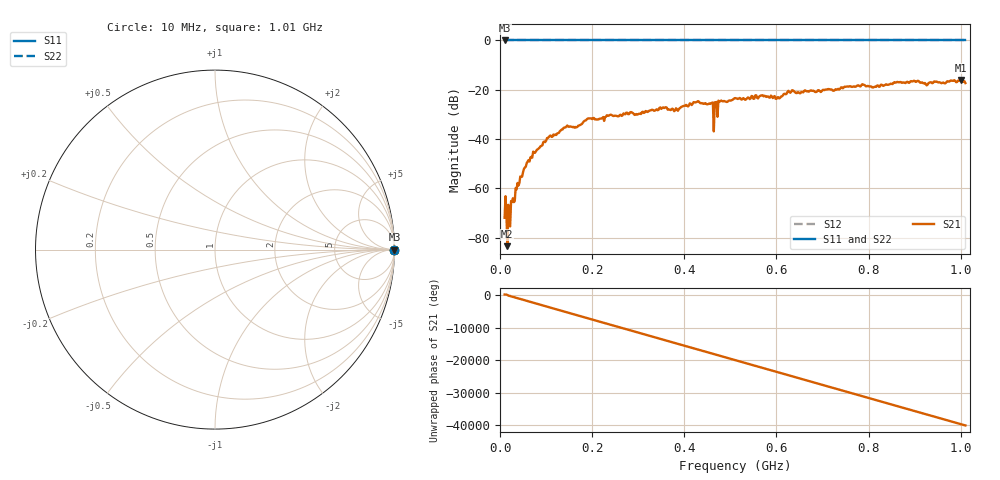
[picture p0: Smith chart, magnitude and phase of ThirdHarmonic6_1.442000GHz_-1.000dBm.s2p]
! 8/16/2025 4:41:01 PM
! C:\ANRITSUVNA\TEMP\TEMP.S2P
! CHANNEL.1
! TR.MEASUREMENT
! RAW.DATA
! RF.CORRECTION.OFF
! AVERAGING.OFF
! IF.BANDWIDTH: 5KHZ
! SWEEPTYPE:  FREQ.SWEEP(Linear)
! Reference Plane Port Info
! PORT:  PORT1  PORT2
! DISTANCE:  0  m  0  m
! TIME:  0  s  0  s
! PHASE.OFFSET:  0  deg.  0  deg.
! LOSS:  0  dB  0  dB
! REF.LOSS:  0  dB  0  dB
! REF.FREQ:  0  Hz  0  Hz
! Power Info
! POWER:  -20  dBm  -20  dBm
! EFF.POWER:  -20  dBm  -20  dBm
! SOURCE.ATTEN:  0  dB  0  dB
! TEST.ATTEN:  0  dB  0  dB
# GHZ S RI R 50.0
! FREQ.GHZ  S11RE  S11IM  S21RE  S21IM  S12RE  S12IM  S22RE  S22IM
!; PortSelection: Port_12
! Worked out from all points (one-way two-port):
!   501 points, 10 MHz to 1.01 GHz, reference 50 ohm
!   highest |S21| = -16.08 dB at 1 GHz (marker M1); lowest = -83.5 dB at 16 MHz (marker M2)
!   lowest |S11| = 0.0 dB at 10 MHz (marker M3)
!   |S11| at or under -10 dB: nowhere
!   |S22| runs from 0.0 to 0.0 dB; largest |S21 - S12| = 1.1
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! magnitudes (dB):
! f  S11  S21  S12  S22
! 10 MHz  0.0  -71.9  0.0  0.0
! 16 MHz  0.0  -83.5  0.0  0.0
! 18 MHz  0.0  -66.7  0.0  0.0
! 28 MHz  0.0  -64.0  0.0  0.0
! 42 MHz  0.0  -58.0  0.0  0.0
! 76 MHz  0.0  -45.6  0.0  0.0
! 106 MHz  0.0  -39.1  0.0  0.0
! 178 MHz  0.0  -33.8  0.0  0.0
! 344 MHz  0.0  -28.2  0.0  0.0
! 382 MHz  0.0  -27.5  0.0  0.0
! 428 MHz  0.0  -24.8  0.0  0.0
! 458 MHz  0.0  -25.5  0.0  0.0
! 460 MHz  0.0  -25.3  0.0  0.0
! 468 MHz  0.0  -25.2  0.0  0.0
! 470 MHz  0.0  -24.9  0.0  0.0
! 478 MHz  0.0  -24.7  0.0  0.0
! 510 MHz  0.0  -23.4  0.0  0.0
! 602 MHz  0.0  -23.0  0.0  0.0
! 678 MHz  0.0  -20.5  0.0  0.0
! 844 MHz  0.0  -17.9  0.0  0.0
! 1 GHz  0.0  -16.1  0.0  0.0
! 1.01 GHz  0.0  -17.3  0.0  0.0
